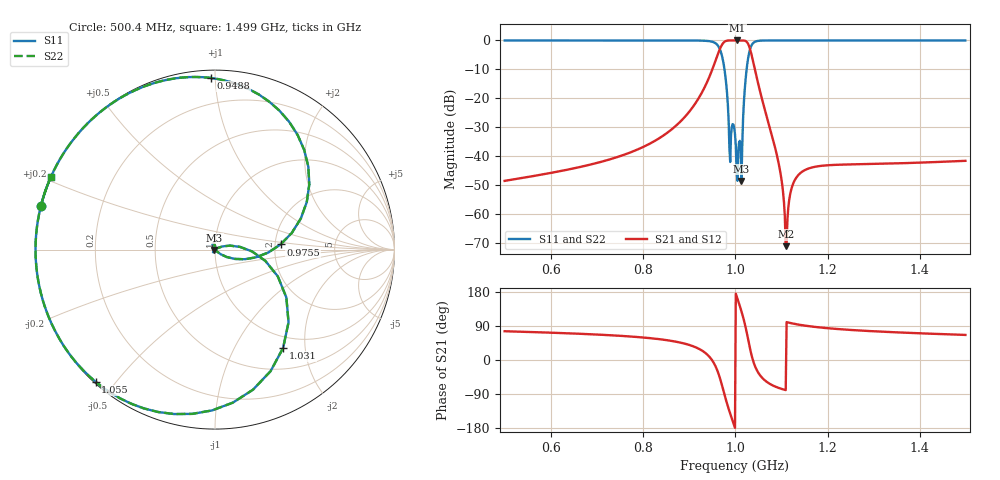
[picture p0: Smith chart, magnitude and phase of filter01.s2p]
# HZ S RI R 50.000000
! FREQ(HZ)  reS11  imS11  reS21  imS21  reS12  imS12  reS22  imS22
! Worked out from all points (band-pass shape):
!   632 points, 500.4 MHz to 1.499 GHz, reference 50 ohm
!   highest |S21| = 0.00 dB at 1.005 GHz (marker M1); lowest = -71.2 dB at 1.109 GHz (marker M2)
!   |S21| within 3 dB of the highest: 966.8 MHz to 1.032 GHz (65.42 MHz wide, 6.55 % of centre)
!   lowest |S11| = -48.6 dB at 1.014 GHz (marker M3), VSWR 1.01, Z = 49.7 - j0.229 ohm
!   |S11| at or under -10 dB: 976.7 MHz to 1.025 GHz (48.05 MHz wide, 4.8 % of centre)
!   |S22| runs from -48.6 to 0.0 dB; largest |S21 - S12| = 0
!   S11 on the Smith chart (normalised r, x): 500.4 MHz: 0.00, +0.12; 948.8 MHz: 0.04, +0.97; 975.5 MHz: 2.15, +0.14; 1.031 GHz: 0.81, -1.60; 1.055 GHz: 0.00, -0.44; 1.499 GHz: 0.00, +0.21
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5.003853e8  -0.9699 0.2435  0.000904 0.0036  0.000904 0.0036  -0.9699 0.2435
6.677916e8  -0.9334 0.3588  0.00236 0.00613  0.00236 0.00613  -0.9334 0.3588
8.342301e8  -0.8208 0.5709  0.0114 0.0165  0.0114 0.0165  -0.8208 0.5709
9.115759e8  -0.5712 0.8172  0.0631 0.0441  0.0631 0.0441  -0.5712 0.8172
9.487651e8  -0.024 0.9564  0.291 0.0073  0.291 0.0073  -0.024 0.9564
9.65404e8  0.497 0.5552  0.4969 -0.4448  0.4969 -0.4448  0.497 0.5552
9.755271e8  0.3655 0.0289  0.0734 -0.9274  0.0734 -0.9274  0.3655 0.0289
9.874715e8  0.00955 -0.00965  -0.7104 -0.7037  -0.7104 -0.7037  0.00955 -0.00965
1.001302e9  0.00135 0.0151  -0.9959 0.0894  -0.9959 0.0894  0.00135 0.0151
1.004789e9  -0.00114 -0.00354  -0.952 0.306  -0.952 0.306  -0.00114 -0.00354
1.008289e9  -0.00869 -0.0145  -0.8581 0.5132  -0.8581 0.5132  -0.00869 -0.0145
1.013562e9  -0.00291 -0.0023  -0.6207 0.784  -0.6207 0.784  -0.00291 -0.0023
1.022411e9  0.2069 -0.0104  0.0493 0.9771  0.0493 0.9771  0.2069 -0.0104
1.031337e9  0.3793 -0.5481  0.613 0.4242  0.613 0.4242  0.3793 -0.5481
1.040341e9  -0.1265 -0.9152  0.3791 -0.0524  0.3791 -0.0524  -0.1265 -0.9152
1.054912e9  -0.6645 -0.7373  0.0904 -0.0815  0.0904 -0.0815  -0.6645 -0.7373
1.094137e9  -0.9596 -0.2813  0.00211 -0.00719  0.00211 -0.00719  -0.9596 -0.2813
1.109461e9  -0.983 -0.1835  5.05e-05 -0.000271  5.05e-05 -0.000271  -0.983 -0.1835
1.128918e9  -0.9959 -0.0908  -0.000345 0.00378  -0.000345 0.00378  -0.9959 -0.0908
1.166832e9  -0.9995 0.032  0.000204 0.00635  0.000204 0.00635  -0.9995 0.032
1.333971e9  -0.9604 0.2785  0.00206 0.00711  0.00206 0.00711  -0.9604 0.2785
1.498766e9  -0.9147 0.4041  0.00334 0.00755  0.00334 0.00755  -0.9147 0.4041
